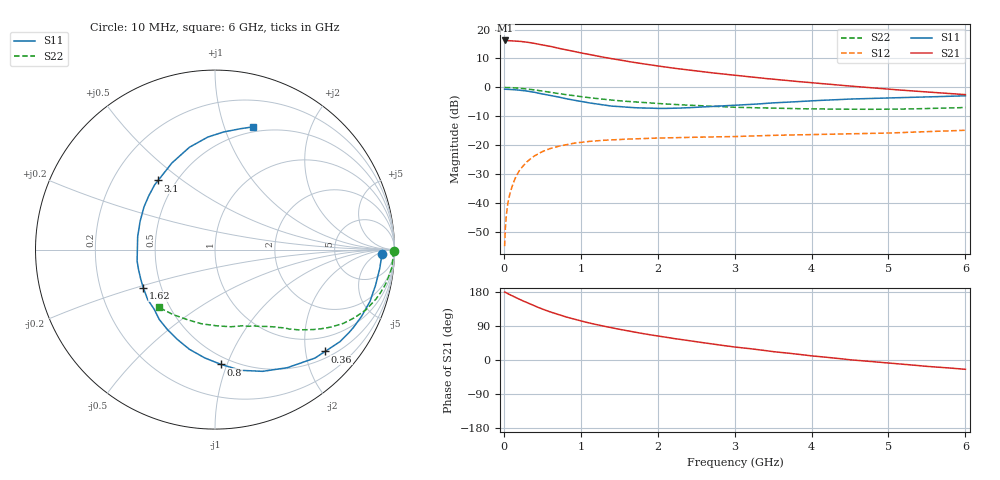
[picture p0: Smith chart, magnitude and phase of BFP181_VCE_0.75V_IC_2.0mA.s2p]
! Infineon Technologies  Discrete & RF Semiconductors
! BFP181
! VCE = 0.75V,  IC =  2.0 mA
! Common Emitter S-Parameters:  Jan 2016
# GHz  S  MA  R  50
!  f  S11  S21  S12  S22
! GHz  MAG  ANG  MAG  ANG  MAG  ANG  MAG  ANG
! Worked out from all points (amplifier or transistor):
!   210 points, 10 MHz to 6 GHz, reference 50 ohm
!   highest |S21| = 16.2 dB at 20 MHz (marker M1)
!   |S21| within 3 dB of that: start of sweep to 768.8 MHz
!   unconditionally stable (mu >= 1): 2.183 GHz to end of sweep
!   at 185 MHz: K = 0.11, MSG = 22.7 dB, |S12| = -29.5 dB
!   at 1.52 GHz: K = 0.75, MSG = 13.7 dB, |S12| = -18.0 dB
!   at 6 GHz: K = 1.26, MAG = 3.1 dB, |S12| = -14.8 dB
!   S11 on the Smith chart (normalised r, x): 10 MHz: 25, -8; 360 MHz: 0.64, -2.41; 800 MHz: 0.44, -0.95; 1.62 GHz: 0.40, -0.21; 3.1 GHz: 0.40, +0.41; 6 GHz: 0.45, +1.25
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0.01  0.9293 -1.4  6.457 179.3  0.0018 85.5  0.9948 -0.5
0.02  0.9286 -2.6  6.468 178.7  0.0037 89.1  0.993 -1.2
0.05  0.9252 -5.9  6.439 175.1  0.0096 85.9  0.9922 -3.0
0.12  0.9128 -14.9  6.332 168.3  0.0217 80.0  0.9852 -7.2
0.2  0.897 -24.6  6.265 160.6  0.0361 74.6  0.9684 -11.7
0.24  0.8848 -29.4  6.176 156.8  0.0422 72.1  0.9563 -13.9
0.3  0.8647 -36.4  6.065 151.7  0.0517 68.3  0.9383 -17.1
0.36  0.8355 -42.8  5.86 146.2  0.06 64.2  0.917 -19.9
0.4  0.8221 -47.3  5.754 142.4  0.0656 62.0  0.9041 -21.9
0.5  0.7715 -58.5  5.416 134.3  0.0774 56.0  0.8643 -26.1
0.6  0.7285 -68.6  5.14 127.0  0.0874 51.0  0.8247 -29.9
0.8  0.6406 -87.0  4.5 114.1  0.1017 42.5  0.7516 -35.7
1.02  0.5663 -106.0  3.901 102.2  0.1127 35.5  0.6868 -40.6
1.1  0.5422 -112.9  3.74 98.0  0.116 33.5  0.6661 -42.1
1.3  0.4982 -128.5  3.311 89.2  0.1218 28.8  0.6223 -45.5
1.62  0.4525 -151.9  2.799 76.7  0.1277 24.0  0.5702 -49.7
2.02  0.4326 -179.2  2.326 62.7  0.1333 19.5  0.5243 -54.9
2.44  0.4481 157.3  1.969 50.0  0.1373 16.1  0.489 -60.8
3.1  0.4989 129.4  1.569 32.2  0.1426 12.7  0.4492 -71.2
4.1  0.5943 101.8  1.171 9.1  0.1537 8.6  0.4225 -91.0
5.1  0.6614 84.5  0.91 -9.7  0.1643 5.7  0.4207 -113.8
6  0.7148 73.0  0.749 -24.5  0.1812 2.6  0.4492 -134.4
